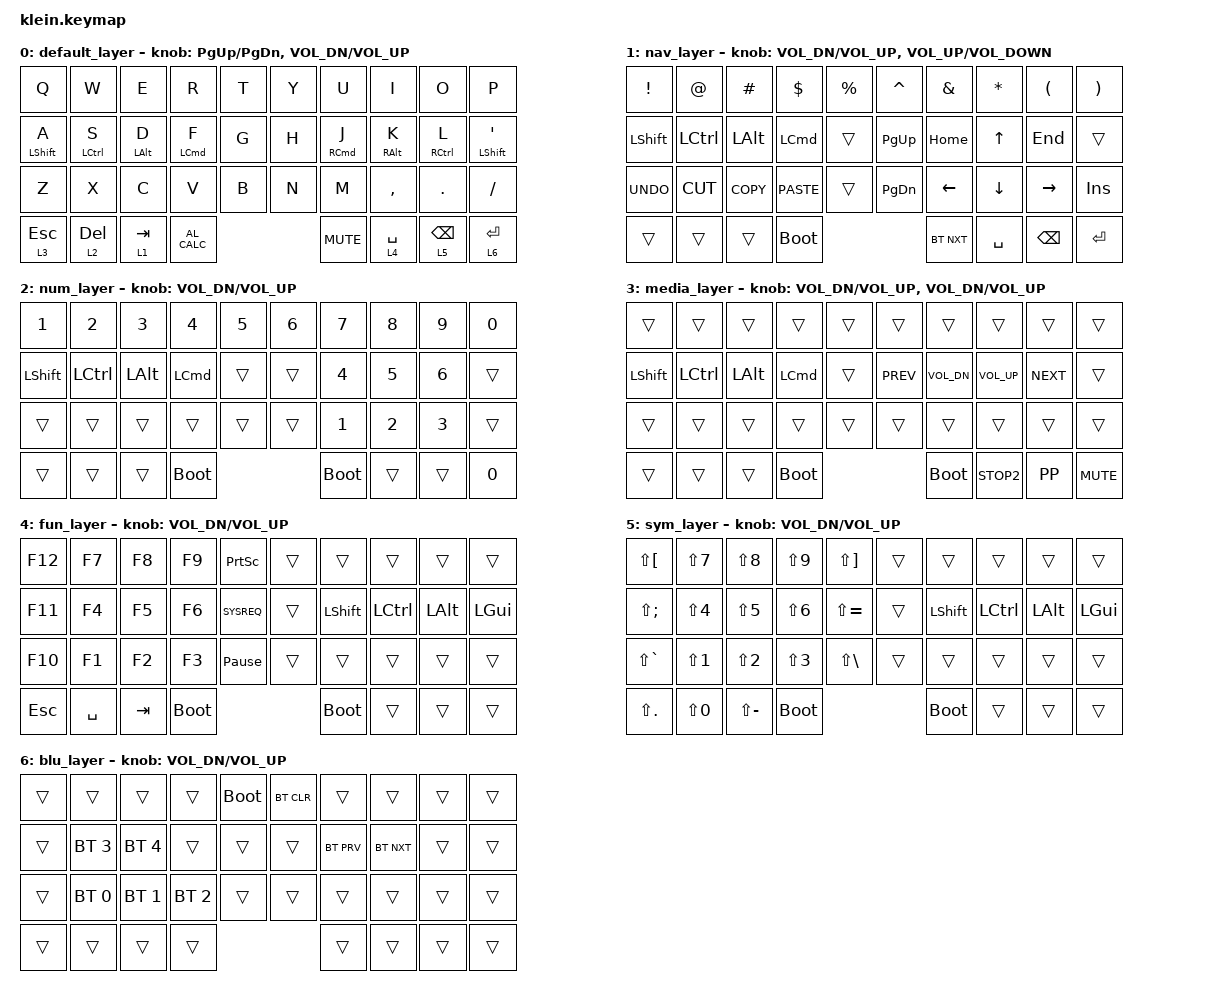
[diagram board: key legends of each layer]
/*
 * Copyright (c) 2020 The ZMK Contributors
 * Test for Keymap Editor
 * SPDX-License-Identifier: MIT
 */

#include <behaviors.dtsi>
#include <dt-bindings/zmk/bt.h>
#include <dt-bindings/zmk/keys.h>

#define BASE 0
#define NAV  1
#define NUM  2
#define FUN  3
#define SYM  4
#define MEDIA  5
#define BLU 6

&mt {
    quick-tap-ms = <100>;
    global-quick-tap;
    flavor = "tap-preferred";
    tapping-term-ms = <180>;
};

/ {
    keymap {
        compatible = "zmk,keymap";

        default_layer {
            //          ------------------------------------------------------------------------------------------------------------
            //          |  Q  |  W  |  E   |  R   |  T   |                                           |  Y   |  U    |  I    |  O   |   P   |
            //          |  A  |  S  |  D   |  F   |  G   |                                           |  H   |  J    |  K    |  L   |   '   |
            //          |  Z  |  X  |  C   |  V   |  B   |                                           |  N   |  M    |  ,    |  .   |   /   |
            //                      | ESC  | SPC |  TAB | CALCULATOR |                         | MUTE | RET | BKSP | DEL |

            bindings = <
&kp Q         &kp W        &kp E       &kp R          &kp T    &kp Y  &kp U       &kp I            &kp O        &kp P
&mt LSHIFT A  &mt LCTRL S  &mt LALT D  &mt LCMD F     &kp G    &kp H  &mt RCMD J  &mt RIGHT_ALT K  &mt RCTRL L  &mt LSHIFT SQT
&kp Z         &kp X        &kp C       &kp V          &kp B    &kp N  &kp M       &kp COMMA        &kp DOT      &kp FSLH
&lt 3 ESC     &lt 2 DEL    &lt 1 TAB   &kp C_AL_CALC                  &kp C_MUTE  &lt 4 SPACE      &lt 5 BKSP   &lt 6 ENTER
            >;

            sensor-bindings = <&inc_dec_kp PG_UP PG_DN &inc_dec_kp C_VOL_DN C_VOL_UP>;
        };

        nav_layer {
            bindings = <
&kp EXCL    &kp AT     &kp HASH    &kp DLLR     &kp PERCENT    &kp CARET      &kp AMPS    &kp STAR   &kp LPAR   &kp RPAR
&kp LSHFT   &kp LCTRL  &kp LALT    &kp LCMD     &trans         &kp PAGE_UP    &kp HOME    &kp UP     &kp END    &trans
&kp K_UNDO  &kp K_CUT  &kp K_COPY  &kp K_PASTE  &trans         &kp PAGE_DOWN  &kp LEFT    &kp DOWN   &kp RIGHT  &kp INS
&trans      &trans     &trans      &bootloader                                &bt BT_NXT  &kp SPACE  &kp BKSP   &kp ENTER
            >;

            sensor-bindings =
                <&inc_dec_kp C_VOL_DN C_VOL_UP>,
                <&inc_dec_kp C_VOLUME_UP C_VOLUME_DOWN>;
        };

        num_layer {
            bindings = <
&kp NUMBER_1    &kp NUMBER_2  &kp NUMBER_3  &kp NUMBER_4  &kp N5    &kp NUMBER_6  &kp N7        &kp N8        &kp N9        &kp N0
&kp LEFT_SHIFT  &kp LCTRL     &kp LALT      &kp LCMD      &trans    &trans        &kp NUMBER_4  &kp N5        &kp NUMBER_6  &trans
&trans          &trans        &trans        &trans        &trans    &trans        &kp NUMBER_1  &kp NUMBER_2  &kp NUMBER_3  &trans
&trans          &trans        &trans        &bootloader                           &bootloader   &trans        &trans        &kp N0
            >;

            sensor-bindings = <&inc_dec_kp C_VOL_DN C_VOL_UP>;
        };

        media_layer {
            bindings = <
&trans     &trans     &trans    &trans       &trans    &trans      &trans        &trans        &trans      &trans
&kp LSHFT  &kp LCTRL  &kp LALT  &kp LCMD     &trans    &kp K_PREV  &kp K_VOL_DN  &kp K_VOL_UP  &kp K_NEXT  &trans
&trans     &trans     &trans    &trans       &trans    &trans      &trans        &trans        &trans      &trans
&trans     &trans     &trans    &bootloader                        &bootloader   &kp K_STOP2   &kp K_PP    &kp K_MUTE
            >;

            sensor-bindings =
                <&inc_dec_kp C_VOL_DN C_VOL_UP>,
                <&inc_dec_kp C_VOL_DN C_VOL_UP>;
        };

        fun_layer {
            bindings = <
&kp F12  &kp F7     &kp F8   &kp F9       &kp PSCRN          &trans  &trans       &trans     &trans    &trans
&kp F11  &kp F4     &kp F5   &kp F6       &kp SYSREQ         &trans  &kp LSHFT    &kp LCTRL  &kp LALT  &kp LGUI
&kp F10  &kp F1     &kp F2   &kp F3       &kp PAUSE_BREAK    &trans  &trans       &trans     &trans    &trans
&kp ESC  &kp SPACE  &kp TAB  &bootloader                             &bootloader  &trans     &trans    &trans
            >;

            sensor-bindings = <&inc_dec_kp C_VOL_DN C_VOL_UP>;
        };

        sym_layer {
            bindings = <
&kp LS(LBKT)    &kp LS(N7)  &kp LS(N8)     &kp LS(N9)   &kp LS(RBKT)     &trans  &trans       &trans     &trans    &trans
&kp LS(SEMI)    &kp LS(N4)  &kp LS(N5)     &kp LS(N6)   &kp LS(EQUAL)    &trans  &kp LSHFT    &kp LCTRL  &kp LALT  &kp LGUI
&kp LS(GRAVE)   &kp LS(N1)  &kp LS(N2)     &kp LS(N3)   &kp LS(BSLH)     &trans  &trans       &trans     &trans    &trans
&kp LS(PERIOD)  &kp LS(N0)  &kp LS(MINUS)  &bootloader                           &bootloader  &trans     &trans    &trans
            >;

            sensor-bindings = <&inc_dec_kp C_VOL_DN C_VOL_UP>;
        };

        blu_layer {
            bindings = <
&trans  &trans        &trans        &trans        &bootloader    &bt BT_CLR  &trans      &trans      &trans  &trans
&trans  &bt BT_SEL 3  &bt BT_SEL 4  &trans        &trans         &trans      &bt BT_PRV  &bt BT_NXT  &trans  &trans
&trans  &bt BT_SEL 0  &bt BT_SEL 1  &bt BT_SEL 2  &trans         &trans      &trans      &trans      &trans  &trans
&trans  &trans        &trans        &trans                                   &trans      &trans      &trans  &trans
            >;

            sensor-bindings = <&inc_dec_kp C_VOL_DN C_VOL_UP>;
        };
    };
};
